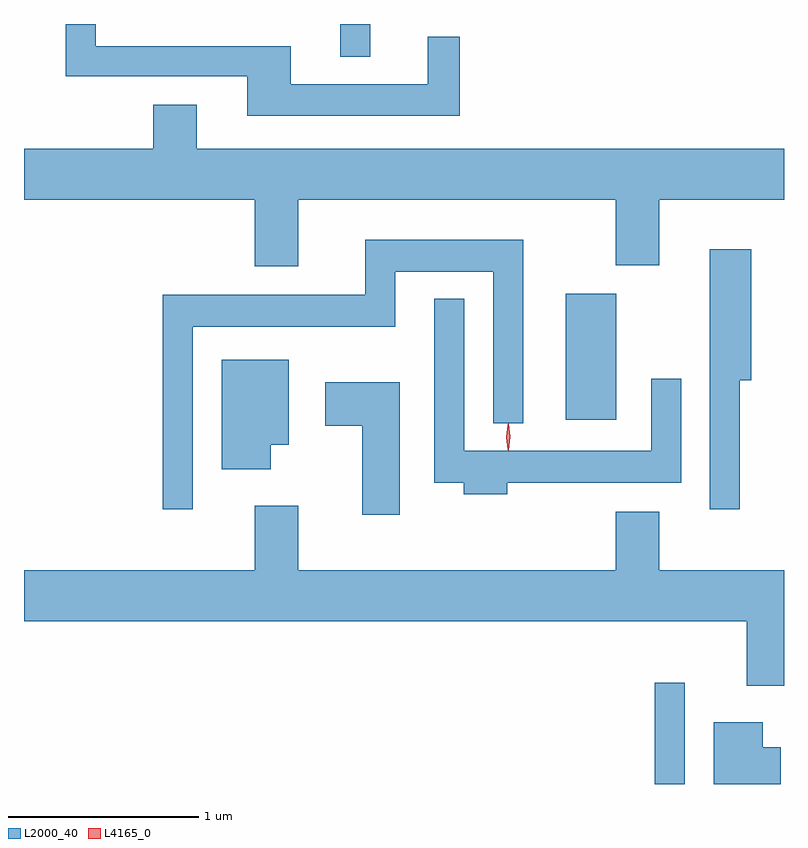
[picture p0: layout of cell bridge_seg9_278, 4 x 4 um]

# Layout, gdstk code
import gdstk
lib = gdstk.Library(unit=1e-6, precision=1e-09)
def R(c, l, rs):  # rectangles x0, y0, x1, y1
    for r in rs: c.add(gdstk.rectangle(r[:2], r[2:], *l))
def P(c, l, *ps):  # polygons
    for p in ps: c.add(gdstk.Polygon(p, *l))
L2000_40 = (2000, 40)
L4165_0 = (4165, 0)

bridge_seg9_278 = lib.new_cell('bridge_seg9_278')
R(bridge_seg9_278, L2000_40, [(1027.876,2070.88,1028.034,2071.413), (1027.406,2072.796,1027.674,2073.459), (1026.221,2074.708,1026.379,2074.88)])
P(bridge_seg9_278, L2000_40, [(1026.849,2074.813),(1026.681,2074.813),(1026.681,2074.564),(1025.959,2074.564),(1025.959,2074.764),(1024.934,2074.764),(1024.934,2074.88),(1024.776,2074.88),(1024.776,2074.606),(1025.731,2074.606),(1025.731,2074.396),(1026.849,2074.396)],
  [(1025.999,2073.956),(1027.671,2073.956),(1027.671,2073.611),(1027.899,2073.611),(1027.899,2073.956),(1028.556,2073.956),(1028.556,2074.224),(1025.464,2074.224),(1025.464,2074.454),(1025.236,2074.454),(1025.236,2074.224),(1024.556,2074.224),(1024.556,2073.956),(1025.771,2073.956),(1025.771,2073.606),(1025.999,2073.606)],
  [(1025.444,2073.286),(1026.509,2073.286),(1026.509,2073.576),(1027.026,2073.576),(1027.026,2072.778),(1027.184,2072.778),(1027.184,2073.744),(1026.351,2073.744),(1026.351,2073.454),(1025.286,2073.454),(1025.286,2072.327),(1025.444,2072.327)],
  [(1028.324,2073.006),(1028.384,2073.006),(1028.384,2073.694),(1028.166,2073.694),(1028.166,2072.327),(1028.324,2072.327)],
  [(1027.099,2072.466),(1028.014,2072.466),(1028.014,2073.012),(1027.856,2073.012),(1027.856,2072.634),(1026.874,2072.634),(1026.874,2073.433),(1026.716,2073.433),(1026.716,2072.466),(1026.871,2072.466),(1026.871,2072.406),(1027.099,2072.406)],
  [(1025.854,2072.666),(1025.949,2072.666),(1025.949,2073.114),(1025.596,2073.114),(1025.596,2072.536),(1025.854,2072.536)],
  [(1026.534,2072.994),(1026.141,2072.994),(1026.141,2072.766),(1026.336,2072.766),(1026.336,2072.296),(1026.534,2072.296)],
  [(1028.556,2072.004),(1027.899,2072.004),(1027.899,2072.314),(1027.671,2072.314),(1027.671,2072.004),(1025.999,2072.004),(1025.999,2072.344),(1025.771,2072.344),(1025.771,2072.004),(1024.556,2072.004),(1024.556,2071.736),(1028.361,2071.736),(1028.361,2071.396),(1028.556,2071.396)],
  [(1028.539,2071.074),(1028.444,2071.074),(1028.444,2071.204),(1028.186,2071.204),(1028.186,2070.88),(1028.539,2070.88)])
P(bridge_seg9_278, L4165_0, [(1027.105,2072.637),(1027.105,2072.637),(1027.095,2072.707),(1027.105,2072.776),(1027.105,2072.776),(1027.106,2072.776),(1027.115,2072.707),(1027.106,2072.637)],
  [(1027.102,2072.64),(1027.102,2072.64),(1027.093,2072.706),(1027.102,2072.772),(1027.103,2072.773),(1027.103,2072.772),(1027.112,2072.706),(1027.103,2072.64)])

lib.write_gds('bridge_seg9_278.gds')
